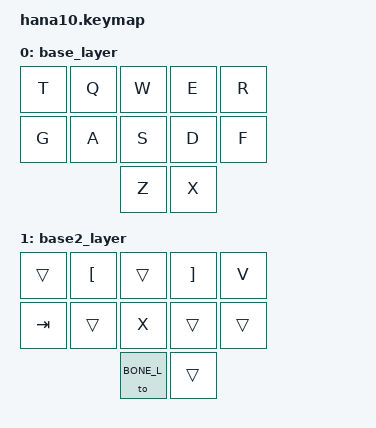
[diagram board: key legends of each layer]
#include <behaviors.dtsi>
#include <dt-bindings/zmk/keys.h>

#define BONE_L 0
#define BTWO_L 1

/ {
    keymap {
        compatible = "zmk,keymap";

        base_layer {
            bindings = <
                &kp T       &kp Q    &kp W     &kp E     &kp R
                &kp G       &kp A    &kp S     &kp D     &kp F
                                    &kp Z     &kp X
            >;
        };

        base2_layer {
            bindings = <
                &trans &kp LEFT_BRACKET &trans &kp RIGHT_BRACKET &kp V
                &kp TAB &trans           &kp X &trans         &trans
                               &to BONE_L &trans
            >;
        };
    };
};
